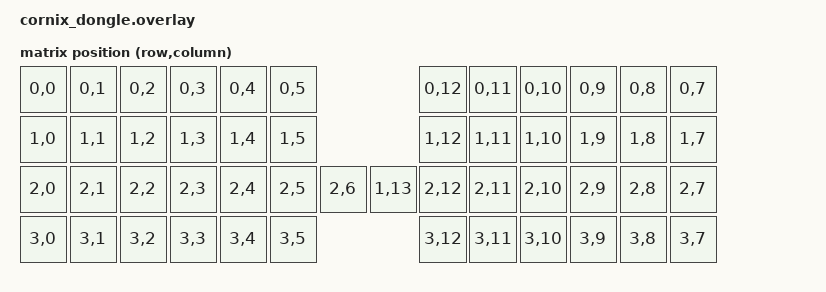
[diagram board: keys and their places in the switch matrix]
#include <dt-bindings/zmk/matrix_transform.h>
#include "cornix-layouts_my.dtsi"

/ {
    chosen {
        zmk,kscan = &mock_kscan;
        zmk,physical-layout = &layout_50;
        zephyr,display = &st7789;
    };

    mock_kscan: kscan {
        compatible = "zmk,kscan-mock";
        columns = <0>;
        rows = <0>;
        events = <0>;
    };

    /* バックライト制御用のPWM設定 */
    pwmleds {
        compatible = "pwm-leds";
        disp_bl: pwm_led_1 {
            pwms = <&pwm1 0 PWM_MSEC(1) PWM_POLARITY_NORMAL>;
        };
    };

    default_transform: keymap_transform_50 {
        compatible = "zmk,matrix-transform";
        columns = <14>;
        rows = <4>;
        map = <
            RC(0,0) RC(0,1) RC(0,2) RC(0,3) RC(0,4) RC(0,5)                   RC(0,12)  RC(0,11) RC(0,10) RC(0,9) RC(0,8) RC(0,7)
            RC(1,0) RC(1,1) RC(1,2) RC(1,3) RC(1,4) RC(1,5)                   RC(1,12)  RC(1,11) RC(1,10) RC(1,9) RC(1,8) RC(1,7)
            RC(2,0) RC(2,1) RC(2,2) RC(2,3) RC(2,4) RC(2,5) RC(2, 6) RC(1,13) RC(2,12)  RC(2,11) RC(2,10) RC(2,9) RC(2,8) RC(2,7)
            RC(3,0) RC(3,1) RC(3,2) RC(3,3) RC(3,4) RC(3,5)                   RC(3,12)  RC(3,11) RC(3,10) RC(3,9) RC(3,8) RC(3,7)
        >;
    };
};

/* SPI3の設定（ルートブロックの外側に書くよ！） */
disp_spi: &spi3 {
    status = "okay";
    pinctrl-0 = <&spi3_default>;
    pinctrl-1 = <&spi3_sleep>;
    pinctrl-names = "default", "sleep";
    cs-gpios = <&xiao_d 9 GPIO_ACTIVE_LOW>;

    mipi_dbi {
        compatible = "zephyr,mipi-dbi-spi";
        spi-dev = <&disp_spi>;
        dc-gpios = <&xiao_d 7 GPIO_ACTIVE_HIGH>;
        reset-gpios = <&xiao_d 3 GPIO_ACTIVE_LOW>;
        write-only;
        #address-cells = <1>;
        #size-cells = <0>;

        st7789: st7789v@0 {
            compatible = "sitronix,st7789v";
            mipi-max-frequency = <30000000>;
            mipi-mode = "MIPI_DBI_MODE_SPI_4WIRE";
            reg = <0>;
            width = <240>;
            height = <280>;
            x-offset = <0>;
            y-offset = <20>;
            vcom = <0x19>;
            gctrl = <0x35>;
            vrhs = <0x12>;
            vdvs = <0x20>;
            mdac = <0x00>;
            gamma = <0x01>;
            colmod = <0x05>;
            lcm = <0x2c>;
            porch-param = [ 0c 0c 00 33 33 ];
            cmd2en-param = [ 5a 69 02 01 ];
            pwctrl1-param = [ a4 a1 ];
            pvgam-param = [ D0 04 0D 11 13 2B 3F 54 4C 18 0D 0B 1F 23 ];
            nvgam-param = [ D0 04 0C 11 13 2C 3F 44 51 2F 1F 1F 20 23 ];
            ram-param = [ 00 F0 ];
            rgb-param = [ CD 08 14 ];
        };
    };
};

&spi2 {
    status = "disabled";
};

&pinctrl {
    spi3_default: spi3_default {
        group1 {
            psels = <NRF_PSEL(SPIM_SCK, 1, 13)>,
                <NRF_PSEL(SPIM_MOSI, 1, 15)>,
                <NRF_PSEL(SPIM_MISO, 1, 10)>;
        };
    };

    spi3_sleep: spi3_sleep {
        group1 {
            psels = <NRF_PSEL(SPIM_SCK, 1, 13)>,
                <NRF_PSEL(SPIM_MOSI, 1, 15)>,
                <NRF_PSEL(SPIM_MISO, 1, 10)>;
            low-power-enable;
        };
    };

    pwm1_default: pwm1_default {
        group1 {
            psels = <NRF_PSEL(PWM_OUT0, 1, 11)>;
            nordic,invert;
        };
    };

    pwm1_sleep: pwm1_sleep {
        group1 {
            psels = <NRF_PSEL(PWM_OUT0, 1, 11)>;
            low-power-enable;
        };
    };
};

&pwm1 {
    status = "okay";
    pinctrl-0 = <&pwm1_default>;
    pinctrl-1 = <&pwm1_sleep>;
    pinctrl-names = "default", "sleep";
};
